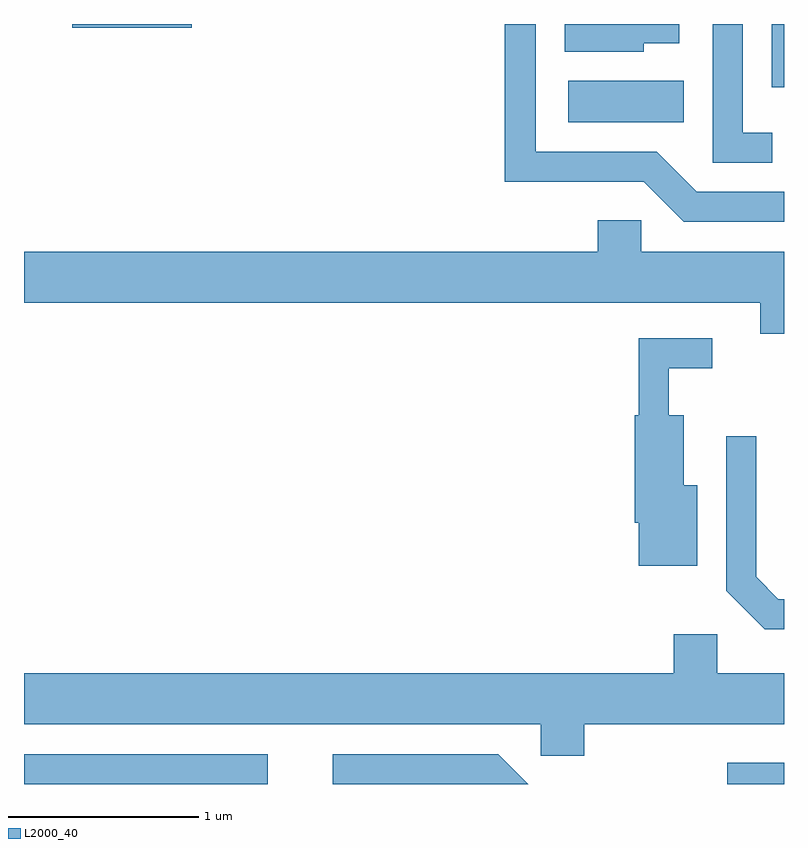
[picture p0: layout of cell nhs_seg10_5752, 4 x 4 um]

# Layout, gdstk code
import gdstk
lib = gdstk.Library(unit=1e-6, precision=1e-09)
def R(c, l, rs):  # rectangles x0, y0, x1, y1
    for r in rs: c.add(gdstk.rectangle(r[:2], r[2:], *l))
def P(c, l, *ps):  # polygons
    for p in ps: c.add(gdstk.Polygon(p, *l))
L2000_40 = (2000, 40)

nhs_seg10_5752 = lib.new_cell('nhs_seg10_5752')
R(nhs_seg10_5752, L2000_40, [(355.611,2082.522,356.894,2082.679), (359.311,2082.522,359.611,2082.634), (358.476,2086.006,359.084,2086.224), (359.546,2086.188,359.611,2086.522), (355.866,2086.501,356.494,2086.522)])
P(nhs_seg10_5752, L2000_40, [(359.611,2085.639),(359.152,2085.639),(358.942,2085.849),(358.304,2085.849),(358.304,2086.522),(358.141,2086.522),(358.141,2085.691),(358.874,2085.691),(359.084,2085.481),(359.611,2085.481)],
  [(359.548,2085.949),(359.394,2085.949),(359.394,2086.522),(359.236,2086.522),(359.236,2085.791),(359.548,2085.791)],
  [(358.874,2086.421),(359.059,2086.421),(359.059,2086.522),(358.456,2086.522),(358.456,2086.376),(358.874,2086.376)],
  [(359.611,2085.324),(358.859,2085.324),(358.859,2085.489),(358.631,2085.489),(358.631,2085.324),(355.611,2085.324),(355.611,2085.056),(359.486,2085.056),(359.486,2084.891),(359.611,2084.891)],
  [(359.154,2084.094),(359.084,2084.094),(359.084,2084.464),(359.004,2084.464),(359.004,2084.711),(359.233,2084.711),(359.233,2084.869),(358.846,2084.869),(358.846,2084.464),(358.826,2084.464),(358.826,2083.896),(358.846,2083.896),(358.846,2083.671),(359.154,2083.671)],
  [(359.611,2083.494),(359.582,2083.494),(359.464,2083.612),(359.464,2084.353),(359.306,2084.353),(359.306,2083.539),(359.509,2083.336),(359.611,2083.336)],
  [(358.559,2082.836),(359.611,2082.836),(359.611,2083.104),(359.259,2083.104),(359.259,2083.309),(359.031,2083.309),(359.031,2083.104),(355.611,2083.104),(355.611,2082.836),(358.331,2082.836),(358.331,2082.671),(358.559,2082.671)],
  [(358.107,2082.679),(357.236,2082.679),(357.236,2082.522),(358.264,2082.522)])

lib.write_gds('nhs_seg10_5752.gds')
